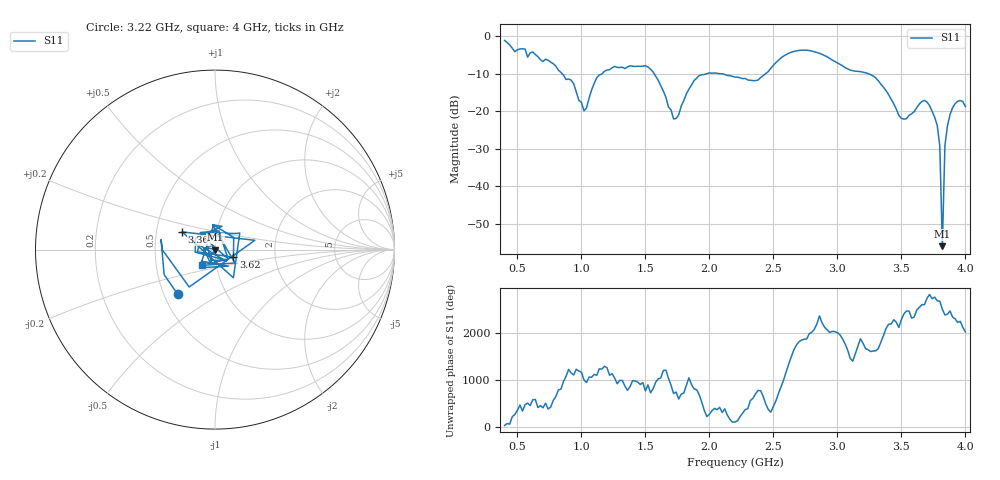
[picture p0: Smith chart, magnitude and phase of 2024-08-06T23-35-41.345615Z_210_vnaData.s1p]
!Created with skrf (http://scikit-rf.org).
# Hz S RI R 50.0
!freq ReS11 ImS11
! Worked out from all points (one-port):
!   181 points, 400 MHz to 4 GHz, reference 50 ohm
!   lowest |S11| = -55.9 dB at 3.82 GHz (marker M1), VSWR 1.00, Z = 50.2 - j0.0161 ohm
!   |S11| at or under -10 dB: 1.567 GHz to 1.982 GHz (414.7 MHz wide, 23.4 % of centre); 2.074 GHz to 2.439 GHz (365.2 MHz wide, 16.2 % of centre); 3.239 GHz to end of sweep (the widest 3 of 4)
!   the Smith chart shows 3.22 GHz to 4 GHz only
!   S11 on the Smith chart (normalised r, x): 3.22 GHz: 0.59, -0.33; 3.36 GHz: 0.68, +0.14; 3.62 GHz: 1.22, -0.11; 4 GHz: 0.85, -0.15
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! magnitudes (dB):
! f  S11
! 400 MHz  -1.2
! 860 MHz  -10.4
! 940 MHz  -12.7
! 1.02 GHz  -19.9
! 1.12 GHz  -11.1
! 1.3 GHz  -8.4
! 1.52 GHz  -8.3
! 1.6 GHz  -11.8
! 1.72 GHz  -22.1
! 1.76 GHz  -21.0
! 1.92 GHz  -10.5
! 2.2 GHz  -11.0
! 2.38 GHz  -11.7
! 2.66 GHz  -4.1
! 3.1 GHz  -9.1
! 3.22 GHz  -9.8
! 3.36 GHz  -13.6
! 3.5 GHz  -21.9
! 3.56 GHz  -21.1
! 3.62 GHz  -19.1
! 3.7 GHz  -17.6
! 3.78 GHz  -23.8
! 3.8 GHz  -29.3
! 3.82 GHz  -55.9
! 3.84 GHz  -29.2
! 3.86 GHz  -23.9
! 3.92 GHz  -18.0
! 4 GHz  -18.8
